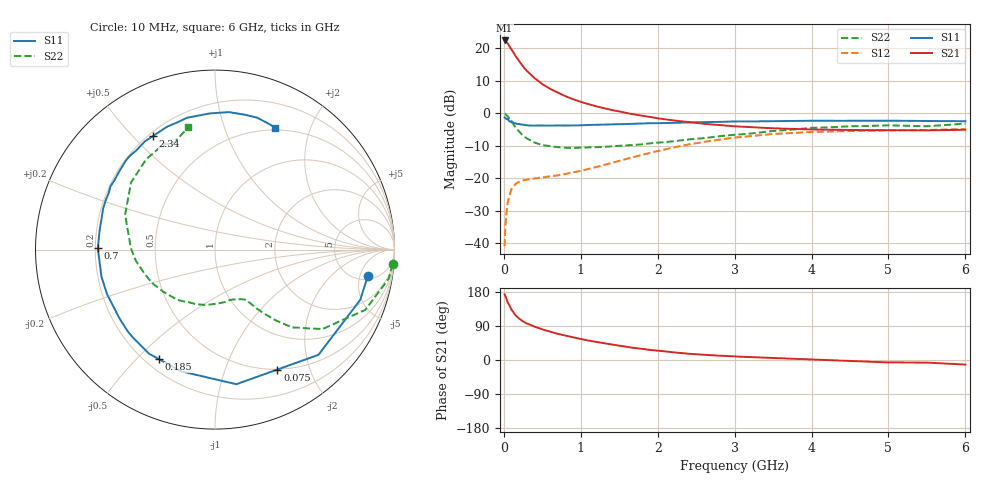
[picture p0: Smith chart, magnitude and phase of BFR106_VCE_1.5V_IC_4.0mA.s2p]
! Infineon Technologies  Discrete & RF Semiconductors
! BFR106
! VCE =  1.5 V,  IC =  4.0 mA
! Common Emitter S-Parameters:  Nov 2015
# GHz  S  MA  R  50
!  f  S11  S21  S12  S22
! GHz  MAG  ANG  MAG  ANG  MAG  ANG  MAG  ANG
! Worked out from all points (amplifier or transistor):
!   210 points, 10 MHz to 6 GHz, reference 50 ohm
!   highest |S21| = 22.5 dB at 10 MHz (marker M1)
!   |S21| within 3 dB of that: start of sweep to 107 MHz
!   unconditionally stable (mu >= 1): 650.1 MHz to 2.364 GHz; 3.561 GHz to end of sweep
!   at 185 MHz: K = 0.35, MSG = 18.9 dB, |S12| = -21.2 dB
!   at 1.52 GHz: K = 1.17, MAG = 5.0 dB, |S12| = -14.5 dB
!   at 6 GHz: K = 1.03, MAG = -1.1 dB, |S12| = -4.8 dB
!   S11 on the Smith chart (normalised r, x): 10 MHz: 5.87, -6.74; 75 MHz: 0.50, -1.53; 185 MHz: 0.25, -0.58; 700 MHz: 0.21, +0.01; 2.34 GHz: 0.22, +0.57; 6 GHz: 0.47, +1.51
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0.01  0.8641 -9.7  13.29 173.4  0.009 85.7  0.9924 -4.7
0.02  0.8563 -19.1  13.14 168.5  0.0183 78.6  0.9819 -9.4
0.05  0.8222 -45.5  11.97 152.0  0.0421 66.3  0.9028 -21.8
0.075  0.7532 -62.5  10.69 143.2  0.0548 56.8  0.8169 -28.4
0.1  0.7593 -81.0  9.718 132.4  0.0684 50.9  0.7444 -36.5
0.15  0.704 -105.6  7.72 117.9  0.0817 40.9  0.6098 -45.3
0.185  0.6856 -117.2  6.72 112.0  0.0867 37.6  0.5471 -48.0
0.2  0.6866 -122.3  6.318 108.9  0.0889 36.3  0.5206 -49.3
0.24  0.6709 -132.5  5.458 103.2  0.0921 33.6  0.4658 -51.6
0.3  0.6559 -144.2  4.495 96.2  0.0955 31.9  0.4106 -54.3
0.32  0.652 -146.9  4.286 94.8  0.0964 31.8  0.3992 -54.7
0.4  0.6509 -157.7  3.482 87.7  0.0998 31.3  0.3541 -56.8
0.5  0.6503 -166.7  2.822 80.6  0.103 32.5  0.3253 -59.0
0.7  0.6528 179.2  2.085 69.0  0.1109 37.4  0.3022 -66.2
1.02  0.6566 163.6  1.48 54.6  0.1318 46.3  0.2973 -79.4
1.4  0.6807 148.8  1.128 41.0  0.1722 53.3  0.3119 -98.6
2.02  0.706 128.2  0.835 24.3  0.2664 53.2  0.3551 -131.9
2.34  0.721 118.8  0.749 17.7  0.3213 49.4  0.3883 -149.0
3.1  0.7509 99.9  0.624 8.5  0.434 35.8  0.477 174.7
4.1  0.7691 82.9  0.563 0.7  0.5209 16.9  0.603 138.4
5.1  0.7696 71.3  0.55 -6.5  0.5472 2.6  0.6501 114.9
6  0.7571 63.6  0.56 -12.1  0.5757 -7.2  0.6967 102.4
